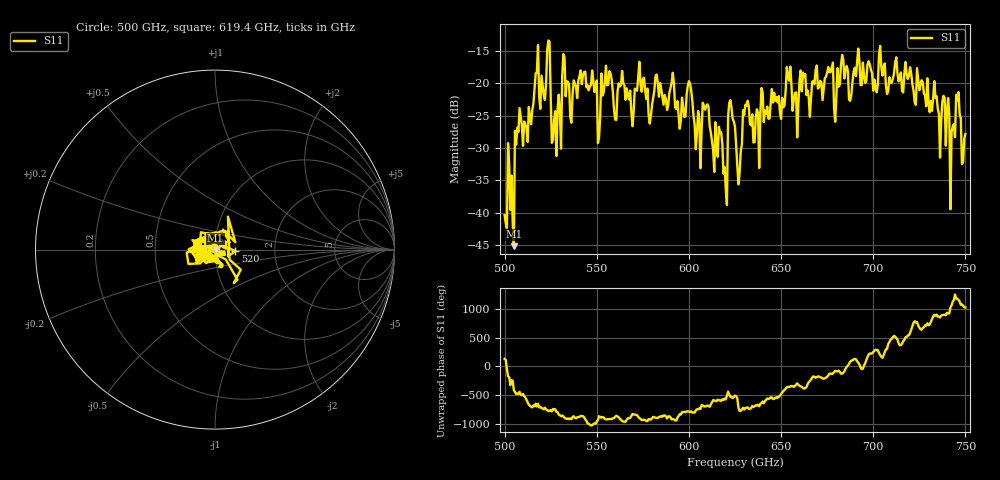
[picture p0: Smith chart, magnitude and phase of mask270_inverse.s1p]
!Created with skrf (http://scikit-rf.org).
# GHz S MA R 50.0
!freq magS11 angS11
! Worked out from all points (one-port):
!   401 points, 500 GHz to 750 GHz, reference 50 ohm
!   lowest |S11| = -45.2 dB at 505 GHz (marker M1), VSWR 1.01, Z = 50.3 - j0.446 ohm
!   |S11| at or under -10 dB: start of sweep to end of sweep
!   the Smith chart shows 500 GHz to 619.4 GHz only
!   S11 on the Smith chart (normalised r, x): 500 GHz: 0.99, +0.01; 520 GHz: 1.26, -0.02; 619.4 GHz: 0.96, +0.02
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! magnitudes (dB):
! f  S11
! 500 GHz  -40.3
! 505 GHz  -45.2
! 506.9 GHz  -26.9
! 520 GHz  -18.8
! 523.8 GHz  -13.4
! 526.9 GHz  -25.6
! 531.2 GHz  -18.9
! 542.5 GHz  -18.8
! 550.6 GHz  -29.2
! 562.5 GHz  -20.5
! 579.4 GHz  -25.0
! 590.6 GHz  -19.9
! 593.8 GHz  -22.8
! 600.6 GHz  -20.0
! 605 GHz  -24.3
! 609.4 GHz  -23.6
! 619.4 GHz  -32.9
! 622.5 GHz  -22.6
! 625 GHz  -26.7
! 627.5 GHz  -33.8
! 630.6 GHz  -23.3
! 636.9 GHz  -24.0
! 656.2 GHz  -24.2
! 687.5 GHz  -22.7
! 718.8 GHz  -19.3
! 743.1 GHz  -26.7
! 746.2 GHz  -21.3
! 750 GHz  -27.8
